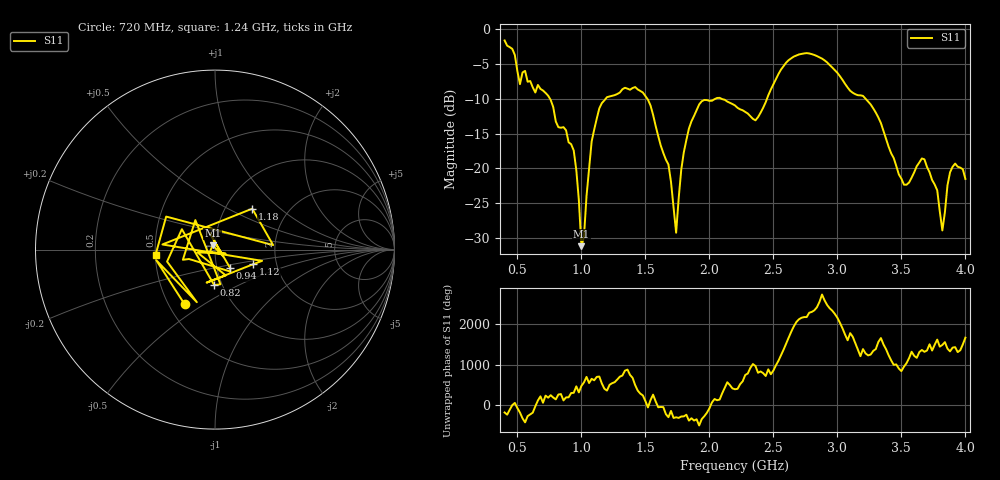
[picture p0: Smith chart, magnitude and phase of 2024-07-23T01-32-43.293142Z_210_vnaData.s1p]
!Created with skrf (http://scikit-rf.org).
# Hz S RI R 50.0
!freq ReS11 ImS11
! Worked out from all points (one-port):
!   181 points, 400 MHz to 4 GHz, reference 50 ohm
!   lowest |S11| = -31.2 dB at 1 GHz (marker M1), VSWR 1.06, Z = 48.7 + j2.38 ohm
!   |S11| at or under -10 dB: 754.4 MHz to 1.19 GHz (435.4 MHz wide, 44.8 % of centre); 1.515 GHz to 2.047 GHz (532.5 MHz wide, 29.9 % of centre); 3.221 GHz to end of sweep (the widest 3 of 4)
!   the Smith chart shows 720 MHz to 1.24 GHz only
!   S11 on the Smith chart (normalised r, x): 720 MHz: 0.60, -0.42; 820 MHz: 0.92, -0.38; 940 MHz: 1.16, -0.25; 1.12 GHz: 1.51, -0.26; 1.18 GHz: 1.33, +0.67; 1.24 GHz: 0.50, -0.03
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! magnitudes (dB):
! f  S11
! 400 MHz  -1.6
! 520 MHz  -7.9
! 720 MHz  -9.2
! 820 MHz  -14.1
! 860 MHz  -14.1
! 940 MHz  -17.4
! 1 GHz  -31.2
! 1.08 GHz  -16.1
! 1.12 GHz  -12.9
! 1.18 GHz  -10.2
! 1.24 GHz  -9.6
! 1.3 GHz  -9.1
! 1.52 GHz  -10.1
! 1.68 GHz  -19.5
! 1.74 GHz  -29.3
! 1.76 GHz  -24.3
! 1.82 GHz  -15.9
! 1.92 GHz  -10.8
! 2.2 GHz  -11.0
! 2.36 GHz  -13.1
! 2.66 GHz  -3.9
! 3.1 GHz  -8.9
! 3.56 GHz  -22.0
! 3.68 GHz  -18.7
! 3.78 GHz  -23.2
! 3.82 GHz  -28.9
! 3.88 GHz  -20.6
! 4 GHz  -21.5
